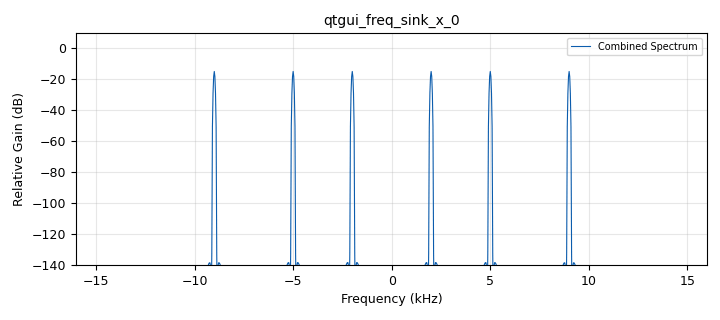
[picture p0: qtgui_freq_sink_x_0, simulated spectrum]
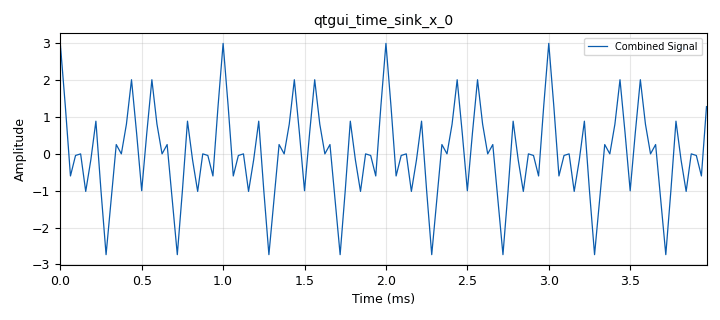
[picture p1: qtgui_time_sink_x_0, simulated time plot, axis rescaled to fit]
options:
  parameters:
    generate_options: qt_gui
    id: exp1
    output_language: python
    title: Building a Multi-Frequency Signal
  states: {}

blocks:
- name: samp_rate
  id: variable
  parameters:
    value: '32000'
  states: {}
- name: analog_sig_source_x_0
  id: analog_sig_source_x
  parameters:
    amp: '1'
    freq: '2000'
    offset: '0'
    phase: '0'
    samp_rate: samp_rate
    type: float
    waveform: analog.GR_COS_WAVE
  states: {}
- name: analog_sig_source_x_0_0
  id: analog_sig_source_x
  parameters:
    amp: '1'
    freq: '5000'
    offset: '0'
    phase: '0'
    samp_rate: samp_rate
    type: float
    waveform: analog.GR_COS_WAVE
  states: {}
- name: analog_sig_source_x_0_1
  id: analog_sig_source_x
  parameters:
    amp: '1'
    freq: '9000'
    offset: '0'
    phase: '0'
    samp_rate: samp_rate
    type: float
    waveform: analog.GR_COS_WAVE
  states: {}
- name: blocks_add_xx_0
  id: blocks_add_xx
  parameters:
    num_inputs: '3'
    type: float
  states: {}
- name: blocks_throttle2_0
  id: blocks_throttle2
  parameters:
    samples_per_second: samp_rate
    type: float
  states: {}
- name: qtgui_freq_sink_x_0
  id: qtgui_freq_sink_x
  parameters:
    bw: samp_rate
    color1: '"dark red"'
    fc: '0'
    fftsize: '1024'
    grid: 'True'
    label1: Combined Spectrum
    type: float
  states: {}
- name: qtgui_time_sink_x_0
  id: qtgui_time_sink_x
  parameters:
    grid: 'True'
    label1: Combined Signal
    size: '128'
    srate: samp_rate
    type: float
  states: {}

connections:
- [analog_sig_source_x_0, '0', blocks_add_xx_0, '0']
- [analog_sig_source_x_0_0, '0', blocks_add_xx_0, '1']
- [analog_sig_source_x_0_1, '0', blocks_add_xx_0, '2']
- [blocks_add_xx_0, '0', blocks_throttle2_0, '0']
- [blocks_throttle2_0, '0', qtgui_freq_sink_x_0, '0']
- [blocks_throttle2_0, '0', qtgui_time_sink_x_0, '0']

metadata:
  file_format: 1
  grc_version: 3.10.12.0
